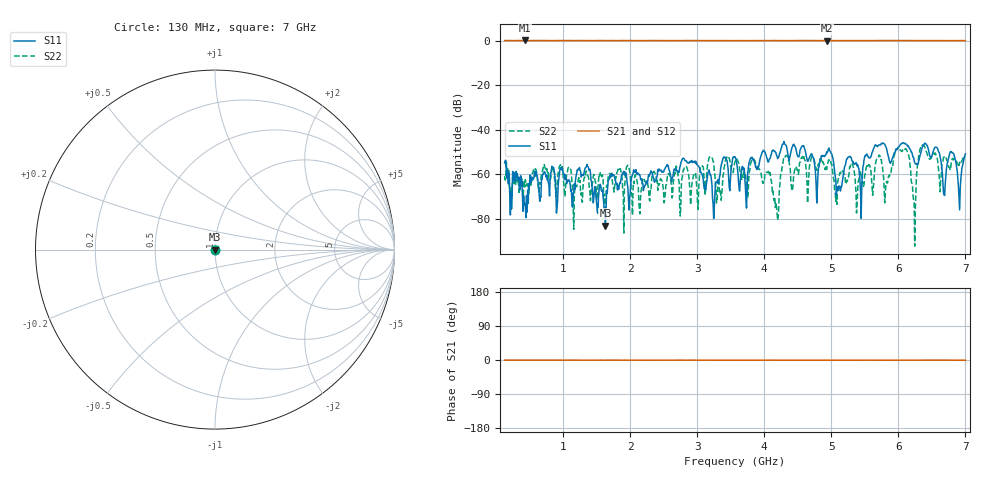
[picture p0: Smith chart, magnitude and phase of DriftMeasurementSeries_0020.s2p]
# Hz S RI R 50.000000
! Metas.Vna.Tools, 2.8.8664.20301
! Metas.Vna.Data, 2.8.8664.20285
! Created: UTC 2024.02.11 10:08:12
! FREQ  re:S1,1  im:S1,1  re:S2,1  im:S2,1  re:S1,2  im:S1,2  re:S2,2  im:S2,2
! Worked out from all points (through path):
!   801 points, 130 MHz to 7 GHz, reference 50 ohm
!   highest |S21| = 0.03 dB at 439.1 MHz (marker M1); lowest = -0.1 dB at 4.93 GHz (marker M2)
!   lowest |S11| = -83.1 dB at 1.633 GHz (marker M3), VSWR 1.00, Z = 50 - j0.000972 ohm
!   |S11| at or under -10 dB: start of sweep to end of sweep
!   |S22| runs from -92.4 to -47.0 dB; largest |S21 - S12| = 0.008
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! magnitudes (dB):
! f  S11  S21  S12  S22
! 130 MHz  -55.0  0.0  0.0  -60.9
! 439.1 MHz  -74.4  0.0  0.0  -62.5
! 1.281 GHz  -60.4  0.0  0.0  -71.6
! 1.633 GHz  -83.1  0.0  0.0  -74.5
! 2.423 GHz  -58.6  0.0  0.0  -64.4
! 3.256 GHz  -75.1  0.0  0.0  -58.3
! 3.565 GHz  -52.2  -0.1  0.0  -54.5
! 4.063 GHz  -54.6  0.0  0.0  -58.8
! 4.183 GHz  -51.4  0.0  0.0  -74.5
! 4.312 GHz  -46.7  0.0  0.0  -52.4
! 4.716 GHz  -51.3  0.0  0.0  -52.3
! 4.93 GHz  -50.0  -0.1  0.0  -57.9
! 5.111 GHz  -65.4  0.0  0.0  -61.2
! 5.858 GHz  -52.8  0.0  0.0  -60.8
! 6.107 GHz  -46.4  0.0  0.0  -48.6
! 6.227 GHz  -52.6  0.0  0.0  -71.5
! 6.347 GHz  -48.9  0.0  0.0  -47.0
! 6.571 GHz  -48.0  0.0  0.0  -51.9
! 6.682 GHz  -69.4  0.0  0.0  -52.3
! 6.802 GHz  -50.5  0.0  0.0  -53.2
! 6.906 GHz  -71.4  0.0  0.0  -56.1
! 7 GHz  -50.9  0.0  0.0  -53.0
